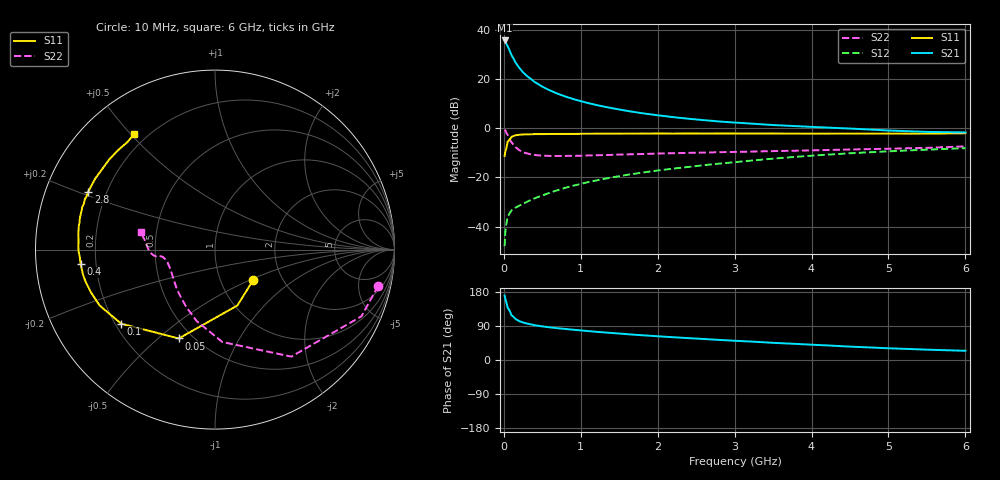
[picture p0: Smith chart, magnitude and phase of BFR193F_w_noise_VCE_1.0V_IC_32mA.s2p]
! (c) 2017  Infineon Technologies AG, Munich
! Infineon Technologies  Discrete & RF Semiconductors
! BFR193F
! VCE =  1.0 V,  IC =  32 mA
! Common Emitter S-Parameters:  Jan 2017
# GHz  S  MA  R  50
!  f  S11  S21  S12  S22
! GHz  MAG  ANG  MAG  ANG  MAG  ANG  MAG  ANG
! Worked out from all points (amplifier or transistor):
!   77 points, 10 MHz to 6 GHz, reference 50 ohm
!   highest |S21| = 35.6 dB at 10 MHz (marker M1)
!   |S21| within 3 dB of that: start of sweep to 59.65 MHz
!   unconditionally stable (mu >= 1): 818.7 MHz to 2.957 GHz
!   at 130 MHz: K = 0.43, MSG = 30.4 dB, |S12| = -32.8 dB
!   at 2.2 GHz: K = 1.04, MAG = 9.3 dB, |S12| = -16.5 dB
!   at 6 GHz: K = 0.92, MSG = 3.2 dB, |S12| = -8.2 dB
!   lowest NFmin = 1.21 dB at 450 MHz
!   S11 on the Smith chart (normalised r, x): 10 MHz: 1.42, -0.53; 50 MHz: 0.42, -0.59; 100 MHz: 0.22, -0.33; 400 MHz: 0.14, -0.05; 2.8 GHz: 0.13, +0.21; 6 GHz: 0.15, +0.51
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0.01  0.2727 -39.0  60.23 170.2  0.004 84.6  0.9312 -12.6
0.02  0.3355 -68.2  57.7 160.2  0.0078 73.6  0.8966 -24.5
0.05  0.5348 -112.2  45.97 137.9  0.0159 57.2  0.7324 -54.5
0.1  0.666 -141.7  30.34 117.9  0.0213 48.3  0.5164 -85.5
0.15  0.7144 -154.2  21.74 108.5  0.0241 44.9  0.411 -104.4
0.2  0.7315 -161.1  16.76 102.6  0.0265 46.7  0.3571 -116.7
0.25  0.7424 -165.9  13.56 98.9  0.0291 48.7  0.3237 -126.6
0.3  0.7483 -169.1  11.42 96.1  0.0318 51.6  0.3062 -133.7
0.4  0.7532 -173.8  8.63 91.7  0.0375 55.4  0.285 -144.0
0.5  0.7546 -176.8  6.942 88.7  0.0427 58.5  0.2754 -150.7
0.6  0.7599 -179.2  5.814 86.1  0.049 62.1  0.2721 -155.6
0.7  0.7617 178.6  4.995 83.8  0.0549 63.6  0.2716 -158.9
0.8  0.7613 177.0  4.374 81.9  0.0615 65.0  0.2725 -162.1
0.9  0.7634 175.2  3.904 79.9  0.0674 66.5  0.2733 -164.2
1.1  0.7675 172.5  3.211 76.2  0.0804 67.9  0.2788 -167.0
1.5  0.772 167.7  2.386 69.8  0.1055 69.5  0.2899 -170.9
2.1  0.7754 161.6  1.746 61.4  0.1439 69.5  0.3064 -173.2
2.8  0.776 155.5  1.363 53.0  0.19 68.2  0.324 -173.8
3.1  0.7752 152.8  1.267 49.8  0.2102 67.4  0.3305 -173.6
4.1  0.772 143.6  1.042 39.4  0.2818 62.6  0.3555 -176.6
5.1  0.773 133.4  0.882 30.2  0.3426 56.1  0.3843 175.3
6  0.7862 124.8  0.818 24.3  0.3908 50.6  0.4259 167.0
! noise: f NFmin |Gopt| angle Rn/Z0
0.45  1.21  0.4  177  0.06
0.9  1.3  0.43  177  0.07
1.9  1.86  0.58  -167  0.07
2.4  2.15  0.61  -158  0.12
